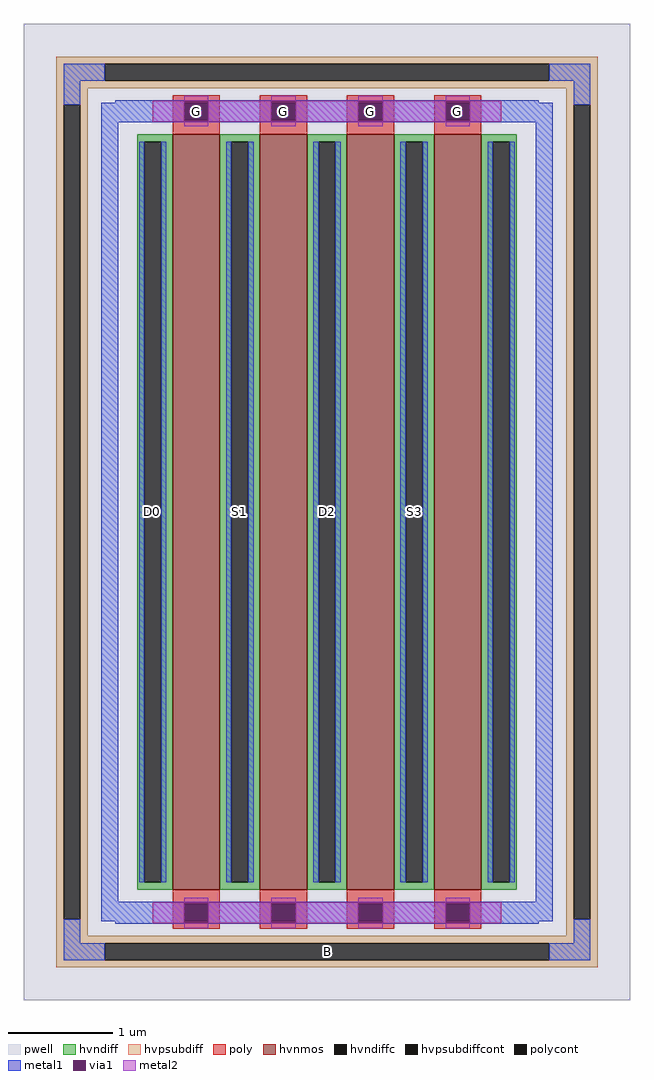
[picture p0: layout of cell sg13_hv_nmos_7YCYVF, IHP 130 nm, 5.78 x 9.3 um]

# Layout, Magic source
magic
tech ihp-sg13cmos5l
magscale 1 2
<< pwell >>
rect -578 -930 578 930
<< hvnmos >>
rect -294 -720 -204 720
rect -128 -720 -38 720
rect 38 -720 128 720
rect 204 -720 294 720
<< hvndiff >>
rect -362 706 -294 720
rect -362 -706 -348 706
rect -316 -706 -294 706
rect -362 -720 -294 -706
rect -204 706 -128 720
rect -204 -706 -182 706
rect -150 -706 -128 706
rect -204 -720 -128 -706
rect -38 706 38 720
rect -38 -706 -16 706
rect 16 -706 38 706
rect -38 -720 38 -706
rect 128 706 204 720
rect 128 -706 150 706
rect 182 -706 204 706
rect 128 -720 204 -706
rect 294 706 362 720
rect 294 -706 316 706
rect 348 -706 362 706
rect 294 -720 362 -706
<< hvndiffc >>
rect -348 -706 -316 706
rect -182 -706 -150 706
rect -16 -706 16 706
rect 150 -706 182 706
rect 316 -706 348 706
<< hvpsubdiff >>
rect -516 854 516 868
rect -516 822 -424 854
rect 424 822 516 854
rect -516 808 516 822
rect -516 776 -456 808
rect -516 -776 -502 776
rect -470 -776 -456 776
rect 456 776 516 808
rect -516 -808 -456 -776
rect 456 -776 470 776
rect 502 -776 516 776
rect 456 -808 516 -776
rect -516 -822 516 -808
rect -516 -854 -424 -822
rect 424 -854 516 -822
rect -516 -868 516 -854
<< hvpsubdiffcont >>
rect -424 822 424 854
rect -502 -776 -470 776
rect 470 -776 502 776
rect -424 -854 424 -822
<< poly >>
rect -294 780 -204 794
rect -294 748 -272 780
rect -226 748 -204 780
rect -294 720 -204 748
rect -128 780 -38 794
rect -128 748 -106 780
rect -60 748 -38 780
rect -128 720 -38 748
rect 38 780 128 794
rect 38 748 60 780
rect 106 748 128 780
rect 38 720 128 748
rect 204 780 294 794
rect 204 748 226 780
rect 272 748 294 780
rect 204 720 294 748
rect -294 -748 -204 -720
rect -294 -780 -272 -748
rect -226 -780 -204 -748
rect -294 -794 -204 -780
rect -128 -748 -38 -720
rect -128 -780 -106 -748
rect -60 -780 -38 -748
rect -128 -794 -38 -780
rect 38 -748 128 -720
rect 38 -780 60 -748
rect 106 -780 128 -748
rect 38 -794 128 -780
rect 204 -748 294 -720
rect 204 -780 226 -748
rect 272 -780 294 -748
rect 204 -794 294 -780
<< polycont >>
rect -272 748 -226 780
rect -106 748 -60 780
rect 60 748 106 780
rect 226 748 272 780
rect -272 -780 -226 -748
rect -106 -780 -60 -748
rect 60 -780 106 -748
rect 226 -780 272 -748
<< metal1 >>
rect -502 822 -424 854
rect 424 822 502 854
rect -502 776 -470 822
rect -404 784 404 785
rect -404 780 -272 784
rect -502 -822 -470 -776
rect -430 744 -272 780
rect -226 744 -106 784
rect -60 744 60 784
rect 106 744 226 784
rect 272 780 404 784
rect 272 744 430 780
rect -430 743 430 744
rect -430 -743 -398 743
rect -358 -706 -348 706
rect -316 -706 -306 706
rect -192 -706 -182 706
rect -150 -706 -140 706
rect -26 -706 -16 706
rect 16 -706 26 706
rect 140 -706 150 706
rect 182 -706 192 706
rect 306 -706 316 706
rect 348 -706 358 706
rect 398 -743 430 743
rect -430 -744 430 -743
rect -430 -780 -272 -744
rect -404 -784 -272 -780
rect -226 -784 -106 -744
rect -60 -784 60 -744
rect 106 -784 226 -744
rect 272 -780 430 -744
rect 470 776 502 822
rect 272 -784 404 -780
rect -404 -785 404 -784
rect 470 -822 502 -776
rect -502 -854 -424 -822
rect 424 -854 502 -822
<< via1 >>
rect -272 780 -226 784
rect -272 748 -226 780
rect -272 744 -226 748
rect -106 780 -60 784
rect -106 748 -60 780
rect -106 744 -60 748
rect 60 780 106 784
rect 60 748 106 780
rect 60 744 106 748
rect 226 780 272 784
rect 226 748 272 780
rect 226 744 272 748
rect -272 -748 -226 -744
rect -272 -780 -226 -748
rect -272 -784 -226 -780
rect -106 -748 -60 -744
rect -106 -780 -60 -748
rect -106 -784 -60 -780
rect 60 -748 106 -744
rect 60 -780 106 -748
rect 60 -784 106 -780
rect 226 -748 272 -744
rect 226 -780 272 -748
rect 226 -784 272 -780
<< metal2 >>
rect -272 784 -226 793
rect -106 784 -60 793
rect 60 784 106 793
rect 226 784 272 793
rect -332 744 -272 784
rect -226 744 -106 784
rect -60 744 60 784
rect 106 744 226 784
rect 272 744 332 784
rect -272 735 -226 744
rect -106 735 -60 744
rect 60 735 106 744
rect 226 735 272 744
rect -272 -744 -226 -735
rect -106 -744 -60 -735
rect 60 -744 106 -735
rect 226 -744 272 -735
rect -332 -784 -272 -744
rect -226 -784 -106 -744
rect -60 -784 60 -744
rect 106 -784 226 -744
rect 272 -784 332 -744
rect -272 -793 -226 -784
rect -106 -793 -60 -784
rect 60 -793 106 -784
rect 226 -793 272 -784
<< labels >>
rlabel hvpsubdiffcont 0 -838 0 -838 0 B
port 1 nsew
rlabel hvndiffc -332 0 -332 0 0 D0
port 2 nsew
rlabel polycont -249 764 -249 764 0 G
port 3 nsew
rlabel hvndiffc -166 0 -166 0 0 S1
port 4 nsew
rlabel polycont -83 764 -83 764 0 G
port 3 nsew
rlabel hvndiffc 0 0 0 0 0 D2
port 5 nsew
rlabel polycont 83 764 83 764 0 G
port 3 nsew
rlabel hvndiffc 166 0 166 0 0 S3
port 6 nsew
rlabel polycont 249 764 249 764 0 G
port 3 nsew
<< properties >>
string FIXED_BBOX -486 -838 486 838
string gencell sg13_hv_nmos
string library sg13cmos5l
string parameters w 7.2 l 0.45 m 1 ng 4 diffcov 100 polycov 100 guard 1 glc 1 grc 1 gtc 1 gbc 1 tbcov 100 rlcov 100 topc 1 botc 1 poverlap 0 doverlap 1 lmin 0.45 wmin 0.15 class mosfet compatible {sg13_lv_nmos sg13_hv_nmos} full_metal 1 conn_gates 1 gate_ring 1 doports 1 viasrc 0 viadrn 0 viagate 100 ccols 1 viagb 0 viagr 0 viagl 0 viagt 0
<< end >>
